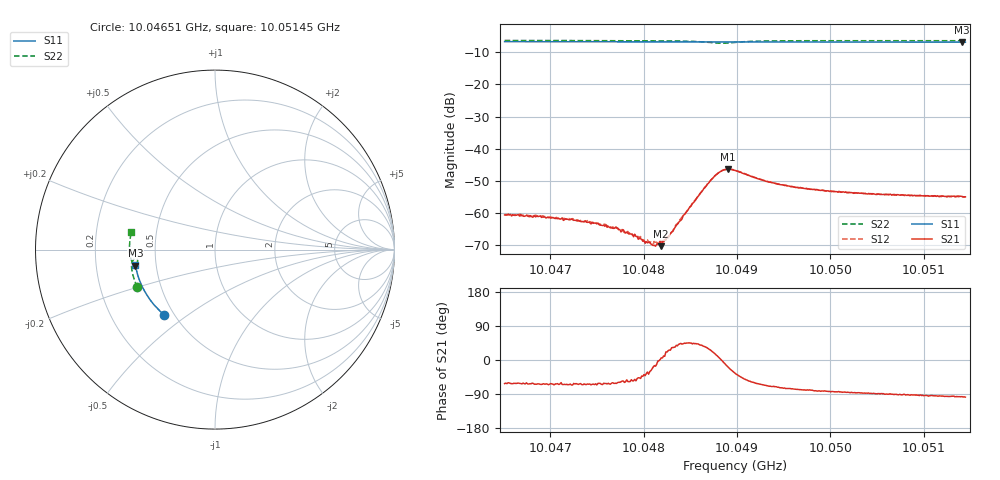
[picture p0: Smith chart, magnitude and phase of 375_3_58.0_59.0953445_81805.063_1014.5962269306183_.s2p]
#  HZ  S  RI  R  50.00
! Rohde & Schwarz Vector Network Analyzer
! Rohde-Schwarz,ZNB20-2Port,1311601062101988,3.16
! Created: UTC 3/21/2024, 1:07:06 AM
! freq[Hz]  re:S11  im:S11  re:S21  im:S21  re:S12  im:S12  re:S22  im:S22
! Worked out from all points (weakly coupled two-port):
!   401 points, 10.04651 GHz to 10.05145 GHz, reference 50 ohm
!   highest |S21| = -46.34 dB at 10.04891 GHz (marker M1); lowest = -70.2 dB at 10.04819 GHz (marker M2)
!   lowest |S11| = -6.9 dB at 10.05141 GHz (marker M3), VSWR 2.65, Z = 19 - j4.3 ohm
!   |S11| at or under -10 dB: nowhere
!   |S22| runs from -7.2 to -6.4 dB; largest |S21 - S12| = 0.00036
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1.0046512e10  -0.2843 -0.3626  0.000437 -0.00083  0.000526 -0.000807  -0.4332 -0.2085
1.004687e10  -0.3019 -0.3469  0.000405 -0.000792  0.000456 -0.000766  -0.4427 -0.1862
1.0047339e10  -0.3239 -0.3251  0.000312 -0.000671  0.000371 -0.000681  -0.4531 -0.1558
1.0047598e10  -0.3355 -0.3124  0.000305 -0.000573  0.000351 -0.000566  -0.4579 -0.1385
1.0047721e10  -0.3407 -0.3062  0.000296 -0.000509  0.000322 -0.000489  -0.4601 -0.1299
1.0047882e10  -0.3475 -0.2979  0.000268 -0.000382  0.00029 -0.00035  -0.4622 -0.1187
1.0048005e10  -0.3524 -0.2916  0.000292 -0.000232  0.000314 -0.000218  -0.4637 -0.1093
1.0048104e10  -0.3565 -0.2866  0.0003 -0.0001  0.00032 -9.62e-05  -0.4648 -0.1019
1.0048165e10  -0.3589 -0.2834  0.000339 -1.18e-05  0.000323 1.18e-05  -0.4651 -0.097
1.004819e10  -0.3599 -0.2821  0.000306 3.1e-05  0.000368 3.96e-05  -0.4653 -0.0952
1.0048215e10  -0.3608 -0.2806  0.000371 6.98e-05  0.000342 9.57e-05  -0.4653 -0.0929
1.0048289e10  -0.3637 -0.2767  0.000434 0.000213  0.000429 0.000225  -0.4654 -0.0869
1.00484e10  -0.368 -0.2706  0.000561 0.000536  0.000582 0.000589  -0.4644 -0.0771
1.0048733e10  -0.3797 -0.2523  0.00313 0.00131  0.00306 0.00152  -0.4416 -0.0513
1.004882e10  -0.3824 -0.2476  0.00437 0.000286  0.00438 0.000538  -0.4316 -0.0575
1.0048906e10  -0.3853 -0.2429  0.00456 -0.00155  0.00468 -0.00125  -0.433 -0.0699
1.004898e10  -0.3879 -0.2389  0.00379 -0.00265  0.00396 -0.00243  -0.4422 -0.0746
1.0049338e10  -0.3995 -0.2182  0.0011 -0.00286  0.00131 -0.0028  -0.4697 -0.0498
1.0049807e10  -0.4127 -0.1903  0.000421 -0.00231  0.000503 -0.00231  -0.476 -0.0126
1.0050634e10  -0.4311 -0.1394  1.52e-05 -0.00194  0.000103 -0.00196  -0.4746 0.0453
1.0051411e10  -0.4429 -0.09  -0.000212 -0.00182  -0.000116 -0.00181  -0.4663 0.0967
1.0051448e10  -0.4435 -0.0874  -0.000246 -0.00178  -0.000121 -0.0018  -0.4658 0.099
